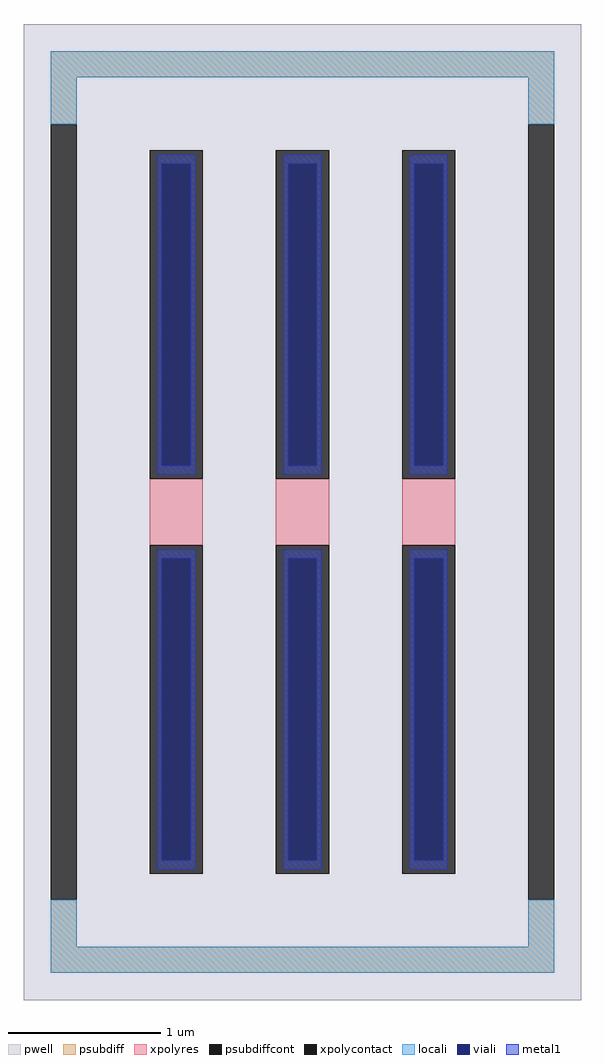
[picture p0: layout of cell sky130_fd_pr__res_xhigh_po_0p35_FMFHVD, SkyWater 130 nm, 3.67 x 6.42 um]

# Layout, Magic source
magic
tech sky130A
magscale 1 2
<< pwell >>
rect -367 -642 367 642
<< psubdiff >>
rect -331 572 331 606
rect -331 510 -297 572
rect 297 510 331 572
rect -331 -572 -297 -510
rect 297 -572 331 -510
rect -331 -606 331 -572
<< psubdiffcont >>
rect -331 -510 -297 510
rect 297 -510 331 510
<< xpolycontact >>
rect -201 44 -131 476
rect -201 -476 -131 -44
rect -35 44 35 476
rect -35 -476 35 -44
rect 131 44 201 476
rect 131 -476 201 -44
<< xpolyres >>
rect -201 -44 -131 44
rect -35 -44 35 44
rect 131 -44 201 44
<< locali >>
rect -331 572 331 606
rect -331 510 -297 572
rect 297 510 331 572
rect -331 -572 -297 -510
rect 297 -572 331 -510
rect -331 -606 331 -572
<< viali >>
rect -185 61 -147 458
rect -19 61 19 458
rect 147 61 185 458
rect -185 -458 -147 -61
rect -19 -458 19 -61
rect 147 -458 185 -61
<< metal1 >>
rect -191 458 -141 470
rect -191 61 -185 458
rect -147 61 -141 458
rect -191 49 -141 61
rect -25 458 25 470
rect -25 61 -19 458
rect 19 61 25 458
rect -25 49 25 61
rect 141 458 191 470
rect 141 61 147 458
rect 185 61 191 458
rect 141 49 191 61
rect -191 -61 -141 -49
rect -191 -458 -185 -61
rect -147 -458 -141 -61
rect -191 -470 -141 -458
rect -25 -61 25 -49
rect -25 -458 -19 -61
rect 19 -458 25 -61
rect -25 -470 25 -458
rect 141 -61 191 -49
rect 141 -458 147 -61
rect 185 -458 191 -61
rect 141 -470 191 -458
<< properties >>
string FIXED_BBOX -314 -589 314 589
string gencell sky130_fd_pr__res_xhigh_po_0p35
string library sky130
string parameters w 0.350 l 0.6 m 1 nx 3 wmin 0.350 lmin 0.50 rho 2000 val 4.504k dummy 0 dw 0.0 term 188.2 sterm 0.0 caplen 0 wmax 0.350 guard 1 glc 1 grc 1 gtc 0 gbc 0 compatible {sky130_fd_pr__res_xhigh_po_0p35  sky130_fd_pr__res_xhigh_po_0p69 sky130_fd_pr__res_xhigh_po_1p41  sky130_fd_pr__res_xhigh_po_2p85 sky130_fd_pr__res_xhigh_po_5p73} snake 0 full_metal 1 n_guard 0 hv_guard 0 vias 1 viagb 0 viagt 0 viagl 0 viagr 0
<< end >>
